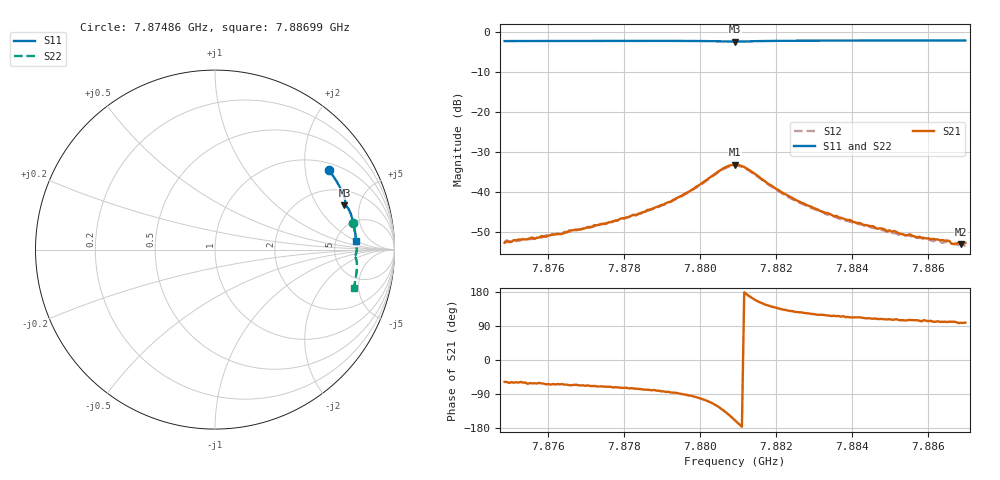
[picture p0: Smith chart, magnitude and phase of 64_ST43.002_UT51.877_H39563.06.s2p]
#  HZ  S  DB  R  50.00
! Rohde & Schwarz Vector Network Analyzer
! Rohde-Schwarz,ZNB20-2Port,1311601062101988,3.16
! Created: UTC 1/12/2023, 6:33:55 PM
! freq[Hz]  db:S11  ang:S11  db:S21  ang:S21  db:S12  ang:S12  db:S22  ang:S22
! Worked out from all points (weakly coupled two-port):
!   201 points, 7.87486 GHz to 7.88699 GHz, reference 50 ohm
!   highest |S21| = -33.22 dB at 7.88092 GHz (marker M1); lowest = -53.1 dB at 7.88687 GHz (marker M2)
!   lowest |S11| = -2.4 dB at 7.88092 GHz (marker M3), VSWR 7.41, Z = 151 + j178 ohm
!   |S11| at or under -10 dB: nowhere
!   |S22| runs from -2.2 to -1.9 dB; largest |S21 - S12| = 0.0015
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7.874857e9  -2.23 34.9  -52.73 -57.8  -52.54 -61.7  -2.14 10.9
7.875585e9  -2.21 32.9  -51.42 -61.7  -51.81 -63.1  -2.12 9.2
7.875646e9  -2.21 32.8  -51.80 -61.3  -51.65 -64.4  -2.12 9.0
7.875828e9  -2.21 32.3  -51.06 -61.7  -51.48 -66.5  -2.11 8.6
7.876919e9  -2.19 29.3  -49.26 -66.8  -49.14 -70.5  -2.09 6.0
7.877647e9  -2.18 27.3  -47.56 -70.8  -47.75 -75.2  -2.06 4.3
7.878921e9  -2.18 23.8  -43.55 -81.2  -43.74 -84.3  -2.06 1.3
7.879709e9  -2.19 21.5  -39.99 -93.7  -40.01 -96.6  -2.07 -0.7
7.880619e9  -2.32 19.1  -34.07 -133.2  -34.30 -136.2  -2.19 -2.7
7.880923e9  -2.36 18.9  -33.22 -159.4  -33.41 -162.7  -2.23 -2.8
7.881165e9  -2.32 18.8  -33.77 178.7  -33.99 175.4  -2.21 -2.7
7.882136e9  -2.17 16.4  -40.04 134.2  -40.17 130.9  -2.02 -4.7
7.882985e9  -2.13 14.0  -44.01 121.3  -44.23 118.2  -1.99 -6.7
7.883713e9  -2.11 12.0  -46.49 114.4  -46.90 112.0  -1.96 -8.4
7.884926e9  -2.09 8.8  -49.86 106.9  -50.07 103.8  -1.94 -11.1
7.884986e9  -2.09 8.6  -49.62 107.8  -49.76 103.9  -1.94 -11.2
7.885229e9  -2.09 8.0  -50.34 105.5  -50.74 103.5  -1.93 -11.8
7.886381e9  -2.08 5.0  -52.07 100.8  -52.79 98.1  -1.93 -14.3
7.886563e9  -2.08 4.5  -52.30 100.9  -52.61 98.1  -1.93 -14.7
7.886624e9  -2.08 4.3  -52.97 101.1  -52.99 97.9  -1.92 -14.8
7.886867e9  -2.08 3.7  -53.13 98.1  -53.54 96.8  -1.92 -15.3
7.886988e9  -2.08 3.4  -52.75 98.5  -53.60 94.4  -1.92 -15.6
